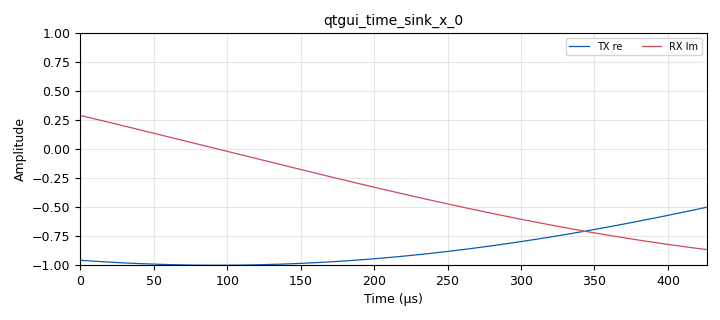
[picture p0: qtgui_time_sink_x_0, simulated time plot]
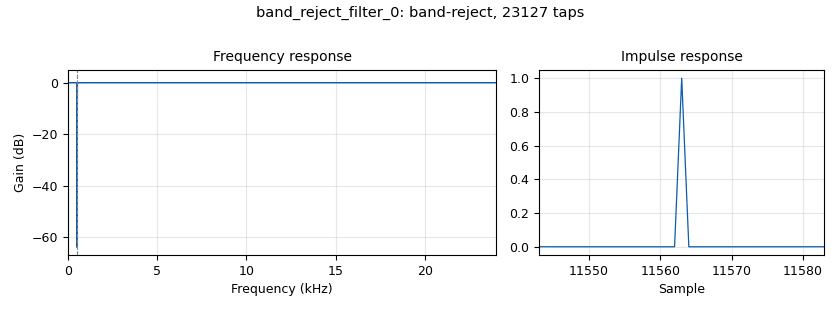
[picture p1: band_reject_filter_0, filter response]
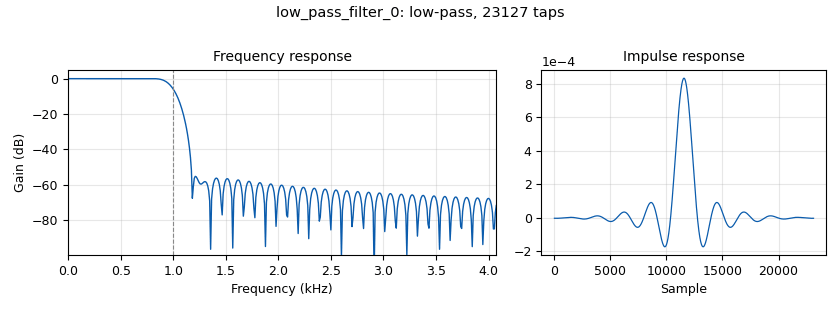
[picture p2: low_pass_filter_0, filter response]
options:
  parameters:
    generate_options: qt_gui
    id: GNURootSeek
    output_language: python
    title: plutoRADAR
  states: {}

blocks:
- name: audio_gain
  id: variable_qtgui_range
  parameters:
    start: '0'
    step: '1'
    stop: '100'
    value: '1'
  states: {}
- name: rx_gain
  id: variable_qtgui_range
  parameters:
    start: '0'
    step: '1'
    stop: '70'
    value: '64'
  states: {}
- name: samp_rate
  id: variable
  parameters:
    value: 2.4e6
  states: {}
- name: tone_freq
  id: variable_qtgui_range
  parameters:
    start: '-2e3'
    step: '1'
    stop: 2e3
    value: '500'
  states: {}
- name: tx_attenuation
  id: variable_qtgui_range
  parameters:
    start: '0'
    step: '1'
    stop: '100'
    value: '10'
  states: {}
- name: variable_qtgui_range_2
  id: variable_qtgui_range
  parameters:
    start: '0'
    step: '1'
    stop: '100'
    value: '50'
  states: {}
- name: analog_sig_source_x_0
  id: analog_sig_source_x
  parameters:
    amp: '1'
    freq: '500'
    offset: '0'
    phase: '0'
    samp_rate: samp_rate
    type: complex
    waveform: analog.GR_COS_WAVE
  states: {}
- name: audio_sink_0
  id: audio_sink
  parameters:
    samp_rate: '48000'
  states: {}
- name: band_reject_filter_0
  id: band_reject_filter
  parameters:
    decim: '1'
    gain: '1'
    high_cutoff_freq: '505'
    low_cutoff_freq: '495'
    samp_rate: samp_rate/50
    type: fir_filter_ccf
    width: '5'
    win: window.WIN_HAMMING
  states: {}
- name: blocks_complex_to_real_0
  id: blocks_complex_to_real
  parameters: {}
  states: {}
- name: blocks_multiply_const_vxx_0
  id: blocks_multiply_const_vxx
  parameters:
    const: audio_gain
    type: complex
  states: {}
- name: epy_module_1
  id: epy_module
  parameters:
    source_code: '# this module will be imported in the into your flowgraph'
  states: {}
- name: iio_pluto_sink_0
  id: iio_pluto_sink
  parameters:
    attenuation1: tx_attenuation
    bandwidth: '20000000'
    buffer_size: '32768'
    cyclic: 'False'
    filter_source: '''Auto'''
    frequency: '3500000000'
    samplerate: int(samp_rate)
    type: fc32
  states: {}
- name: iio_pluto_source_0
  id: iio_pluto_source
  parameters:
    bandwidth: '20000000'
    bbdc: 'True'
    buffer_size: '32768'
    filter_source: '''Auto'''
    frequency: '3500000000'
    gain1: '''manual'''
    manual_gain1: rx_gain
    quadrature: 'True'
    rfdc: 'True'
    samplerate: int(samp_rate)
    type: fc32
    uri: 192.168.2.1
  states: {}
- name: low_pass_filter_0
  id: low_pass_filter
  parameters:
    cutoff_freq: tone_freq*2
    decim: '50'
    gain: '1'
    samp_rate: samp_rate
    type: fir_filter_ccf
    width: '250'
    win: window.WIN_HAMMING
  states: {}
- name: qtgui_freq_sink_x_0
  id: qtgui_freq_sink_x
  parameters:
    bw: samp_rate
    fc: '0'
    fftsize: 1024*8
    label1: RX
    type: complex
  states: {}
- name: qtgui_freq_sink_x_1
  id: qtgui_freq_sink_x
  parameters:
    bw: samp_rate/50
    fc: '0'
    fftsize: 1024*8
    label1: LPF
    type: complex
  states: {}
- name: qtgui_freq_sink_x_2
  id: qtgui_freq_sink_x
  parameters:
    bw: samp_rate/50
    fc: '0'
    fftsize: 1024*8
    label1: band reject
    type: complex
  states: {}
- name: qtgui_time_sink_x_0
  id: qtgui_time_sink_x
  parameters:
    label1: TX re
    label2: RX Im
    size: '1024'
    srate: samp_rate
    type: complex
  states: {}
- name: qtgui_time_sink_x_0_0
  id: qtgui_time_sink_x
  parameters:
    label1: RX re
    label2: RX Im
    size: 1024*8
    srate: samp_rate
    type: complex
  states: {}
- name: qtgui_time_sink_x_2
  id: qtgui_time_sink_x
  parameters:
    label1: LPF re
    label2: LPF Im
    size: 1024*8
    srate: samp_rate/50
    type: complex
  states: {}
- name: qtgui_time_sink_x_3
  id: qtgui_time_sink_x
  parameters:
    label1: band reject re
    label2: band reject Im
    size: 1024*8
    srate: samp_rate/50
    type: complex
  states: {}

connections:
- [analog_sig_source_x_0, '0', iio_pluto_sink_0, '0']
- [analog_sig_source_x_0, '0', qtgui_time_sink_x_0, '0']
- [band_reject_filter_0, '0', blocks_multiply_const_vxx_0, '0']
- [blocks_complex_to_real_0, '0', audio_sink_0, '0']
- [blocks_multiply_const_vxx_0, '0', blocks_complex_to_real_0, '0']
- [blocks_multiply_const_vxx_0, '0', qtgui_freq_sink_x_2, '0']
- [blocks_multiply_const_vxx_0, '0', qtgui_time_sink_x_3, '0']
- [iio_pluto_source_0, '0', low_pass_filter_0, '0']
- [iio_pluto_source_0, '0', qtgui_freq_sink_x_0, '0']
- [iio_pluto_source_0, '0', qtgui_time_sink_x_0_0, '0']
- [low_pass_filter_0, '0', band_reject_filter_0, '0']
- [low_pass_filter_0, '0', qtgui_freq_sink_x_1, '0']
- [low_pass_filter_0, '0', qtgui_time_sink_x_2, '0']

metadata:
  file_format: 1
  grc_version: 3.10.10.0
